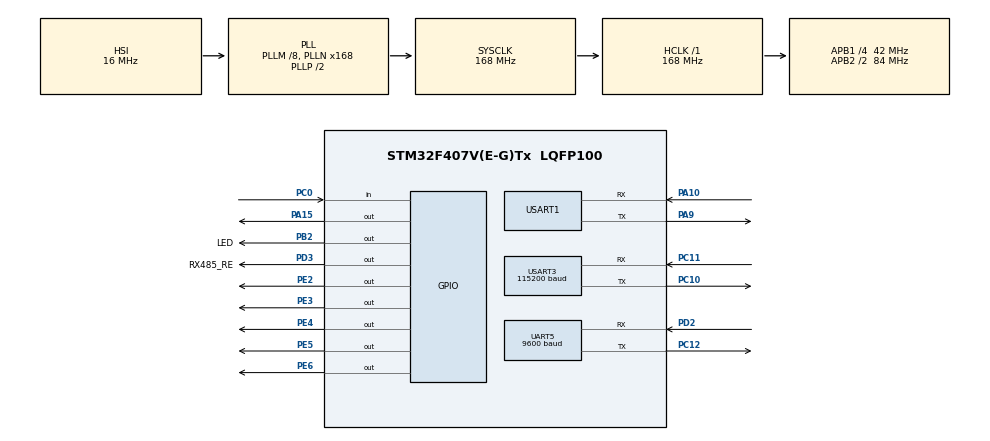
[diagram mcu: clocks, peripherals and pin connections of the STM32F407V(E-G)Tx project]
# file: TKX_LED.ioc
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FREERTOS.Tasks01=defaultTask,24,128,StartDefaultTask,Default,NULL,Dynamic,NULL,NULL
Mcu.Family=STM32F4
Mcu.Name=STM32F407V(E-G)Tx
Mcu.Package=LQFP100
NVIC.PriorityGroup=NVIC_PRIORITYGROUP_4
NVIC.USART3_IRQn=true\:5\:0\:false\:false\:true\:true\:true\:true\:true
PA10.Mode=Asynchronous
PA10.Signal=USART1_RX
PA13.Mode=Serial_Wire
PA13.Signal=SYS_JTMS-SWDIO
PA14.Mode=Serial_Wire
PA14.Signal=SYS_JTCK-SWCLK
PA15.Signal=GPIO_Output
PA9.Mode=Asynchronous
PA9.Signal=USART1_TX
PB2.GPIO_Label=LED
PB2.GPIO_Speed=GPIO_SPEED_FREQ_LOW
PB2.PinState=GPIO_PIN_RESET
PB2.Signal=GPIO_Output
PC0.Signal=GPIO_Input
PC10.Mode=Asynchronous
PC10.Signal=USART3_TX
PC11.Mode=Asynchronous
PC11.Signal=USART3_RX
PC12.Mode=Asynchronous
PC12.Signal=UART5_TX
PD2.Mode=Asynchronous
PD2.Signal=UART5_RX
PD3.GPIO_Label=RX485_RE
PD3.Signal=GPIO_Output
PE2.GPIO_Speed=GPIO_SPEED_FREQ_VERY_HIGH
PE2.Signal=GPIO_Output
PE3.GPIO_Speed=GPIO_SPEED_FREQ_VERY_HIGH
PE3.Signal=GPIO_Output
PE4.GPIO_Speed=GPIO_SPEED_FREQ_VERY_HIGH
PE4.Signal=GPIO_Output
PE5.GPIO_Speed=GPIO_SPEED_FREQ_VERY_HIGH
PE5.Signal=GPIO_Output
PE6.GPIO_Speed=GPIO_SPEED_FREQ_VERY_HIGH
PE6.Signal=GPIO_Output
PH0-OSC_IN.Mode=HSE-External-Oscillator
PH0-OSC_IN.Signal=RCC_OSC_IN
PH1-OSC_OUT.Mode=HSE-External-Oscillator
PH1-OSC_OUT.Signal=RCC_OSC_OUT
ProjectManager.HeapSize=0x200
ProjectManager.StackSize=0x400
ProjectManager.TargetToolchain=MDK-ARM V5.32
RCC.48MHZClocksFreq_Value=84000000
RCC.AHBFreq_Value=168000000
RCC.APB1CLKDivider=RCC_HCLK_DIV4
RCC.APB1Freq_Value=42000000
RCC.APB1TimFreq_Value=84000000
RCC.APB2CLKDivider=RCC_HCLK_DIV2
RCC.APB2Freq_Value=84000000
RCC.APB2TimFreq_Value=168000000
RCC.CortexFreq_Value=168000000
RCC.HCLKFreq_Value=168000000
RCC.HSE_VALUE=8000000
RCC.HSI_VALUE=16000000
RCC.LSE_VALUE=32768
RCC.PLLM=8
RCC.PLLN=168
RCC.SYSCLKFreq_VALUE=168000000
RCC.SYSCLKSource=RCC_SYSCLKSOURCE_PLLCLK
RCC.VCOOutputFreq_Value=336000000
UART5.BaudRate=9600
UART5.VirtualMode=Asynchronous
USART1.VirtualMode=VM_ASYNC
USART3.BaudRate=115200
USART3.VirtualMode=VM_ASYNC
VP_FREERTOS_VS_CMSIS_V2.Mode=CMSIS_V2
board=custom

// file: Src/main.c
/* USER CODE BEGIN Header */
/**
  ******************************************************************************
  * @file           : main.c
  * @brief          : Main program body
  ******************************************************************************
  * @attention
  *
  * Copyright (c) 2025 STMicroelectronics.
  * All rights reserved.
  *
  * This software is licensed under terms that can be found in the LICENSE file
  * in the root directory of this software component.
  * If no LICENSE file comes with this software, it is provided AS-IS.
  *
  ******************************************************************************
  */
/* USER CODE END Header */
#include "main.h"
#include "cmsis_os.h"
#include "usart.h"
#include "gpio.h"

void SystemClock_Config(void);
void MX_FREERTOS_Init(void);

int main(void)
{

  /* MCU Configuration--------------------------------------------------------*/

  /* Reset of all peripherals, Initializes the Flash interface and the Systick. */
  HAL_Init();

  /* Configure the system clock */
  SystemClock_Config();

  /* Initialize all configured peripherals */
  MX_GPIO_Init();
  MX_USART1_UART_Init();
  MX_UART5_Init();
  MX_USART3_UART_Init();

  /* Init scheduler */
  osKernelInitialize();

  /* Call init function for freertos objects (in cmsis_os2.c) */
  MX_FREERTOS_Init();

  /* Start scheduler */
  osKernelStart();

  /* We should never get here as control is now taken by the scheduler */

  /* Infinite loop */
  while (1)
  {

  }
}

void SystemClock_Config(void)
{
  RCC_OscInitTypeDef RCC_OscInitStruct = {0};
  RCC_ClkInitTypeDef RCC_ClkInitStruct = {0};

  /** Configure the main internal regulator output voltage
  */
  __HAL_RCC_PWR_CLK_ENABLE();
  __HAL_PWR_VOLTAGESCALING_CONFIG(PWR_REGULATOR_VOLTAGE_SCALE1);

  /** Initializes the RCC Oscillators according to the specified parameters
  * in the RCC_OscInitTypeDef structure.
  */
  RCC_OscInitStruct.OscillatorType = RCC_OSCILLATORTYPE_HSI;
  RCC_OscInitStruct.HSIState = RCC_HSI_ON;
  RCC_OscInitStruct.HSICalibrationValue = RCC_HSICALIBRATION_DEFAULT;
  RCC_OscInitStruct.PLL.PLLState = RCC_PLL_ON;
  RCC_OscInitStruct.PLL.PLLSource = RCC_PLLSOURCE_HSI;
  RCC_OscInitStruct.PLL.PLLM = 8;
  RCC_OscInitStruct.PLL.PLLN = 168;
  RCC_OscInitStruct.PLL.PLLP = RCC_PLLP_DIV2;
  RCC_OscInitStruct.PLL.PLLQ = 4;
  if (HAL_RCC_OscConfig(&RCC_OscInitStruct) != HAL_OK)
  {
    Error_Handler();
  }

  /** Initializes the CPU, AHB and APB buses clocks
  */
  RCC_ClkInitStruct.ClockType = RCC_CLOCKTYPE_HCLK|RCC_CLOCKTYPE_SYSCLK
                              |RCC_CLOCKTYPE_PCLK1|RCC_CLOCKTYPE_PCLK2;
  RCC_ClkInitStruct.SYSCLKSource = RCC_SYSCLKSOURCE_PLLCLK;
  RCC_ClkInitStruct.AHBCLKDivider = RCC_SYSCLK_DIV1;
  RCC_ClkInitStruct.APB1CLKDivider = RCC_HCLK_DIV4;
  RCC_ClkInitStruct.APB2CLKDivider = RCC_HCLK_DIV2;

  if (HAL_RCC_ClockConfig(&RCC_ClkInitStruct, FLASH_LATENCY_5) != HAL_OK)
  {
    Error_Handler();
  }
}

void Error_Handler(void)
{
  __disable_irq();
  while (1)
  {
  }
}

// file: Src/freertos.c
/* USER CODE BEGIN Header */
/**
  ******************************************************************************
  * File Name          : freertos.c
  * Description        : Code for freertos applications
  ******************************************************************************
  * @attention
  *
  * Copyright (c) 2025 STMicroelectronics.
  * All rights reserved.
  *
  * This software is licensed under terms that can be found in the LICENSE file
  * in the root directory of this software component.
  * If no LICENSE file comes with this software, it is provided AS-IS.
  *
  ******************************************************************************
  */
/* USER CODE END Header */

#include "FreeRTOS.h"
#include "task.h"
#include "main.h"
#include "cmsis_os.h"

/* USER CODE BEGIN Includes */
#include "74HC595.h"
#include "74HC165.h"

#include "usart.h"
/* USER CODE END Includes */

/* Definitions for defaultTask */
osThreadId_t defaultTaskHandle;
const osThreadAttr_t defaultTask_attributes = {
  .name = "defaultTask",
  .stack_size = 128 * 4,
  .priority = (osPriority_t) osPriorityNormal,
};

void StartDefaultTask(void *argument);

void MX_FREERTOS_Init(void); /* (MISRA C 2004 rule 8.1) */

void MX_FREERTOS_Init(void) {

  /* Create the thread(s) */
  /* creation of defaultTask */
  defaultTaskHandle = osThreadNew(StartDefaultTask, NULL, &defaultTask_attributes);

}

void StartDefaultTask(void *argument)
{
  /* USER CODE BEGIN StartDefaultTask */
  HC595_Init(); // Initialize the 74HC595
  HC165_Init(); // Initialize the 74HC165
  uint8_t ioState[3] = {0}; // Buffer to store the state of the 74HC165

  /* Infinite loop */
  for(;;)
  {
    HAL_GPIO_TogglePin(LED_GPIO_Port, LED_Pin);
    HC595_ToggleIO(0); // Toggle the first IO
    HC595_ToggleIO(1); // Toggle the first IO
    HC595_ToggleIO(2); // Toggle the first IO
    HC595_ToggleIO(3); // Toggle the first IO
    HC595_ToggleIO(4); // Toggle the first IO
    HC165_ReadMultiBytes(ioState, 3); // Read the state of the 74HC165
    printf("IO State: %02X %02X %02X\n", ioState[0], ioState[1], ioState[2]); // Print the state
    // RS485_SendData("Hello World\n", 12); // Send "Hello World" over RS485
    // // usart3 printf hello world
    // HAL_UART_Transmit(&huart3, (uint8_t *)"Hello World\n", 12, 1000); // /Transmit "Hello World" over USART3
    // // uart5 printf hello world
    HAL_UART_Transmit(&huart5, (uint8_t *)"Hello World\n", 12, 1000); // Transmit "Hello World" over UART5
    osDelay(1000);
  }
  /* USER CODE END StartDefaultTask */
}
